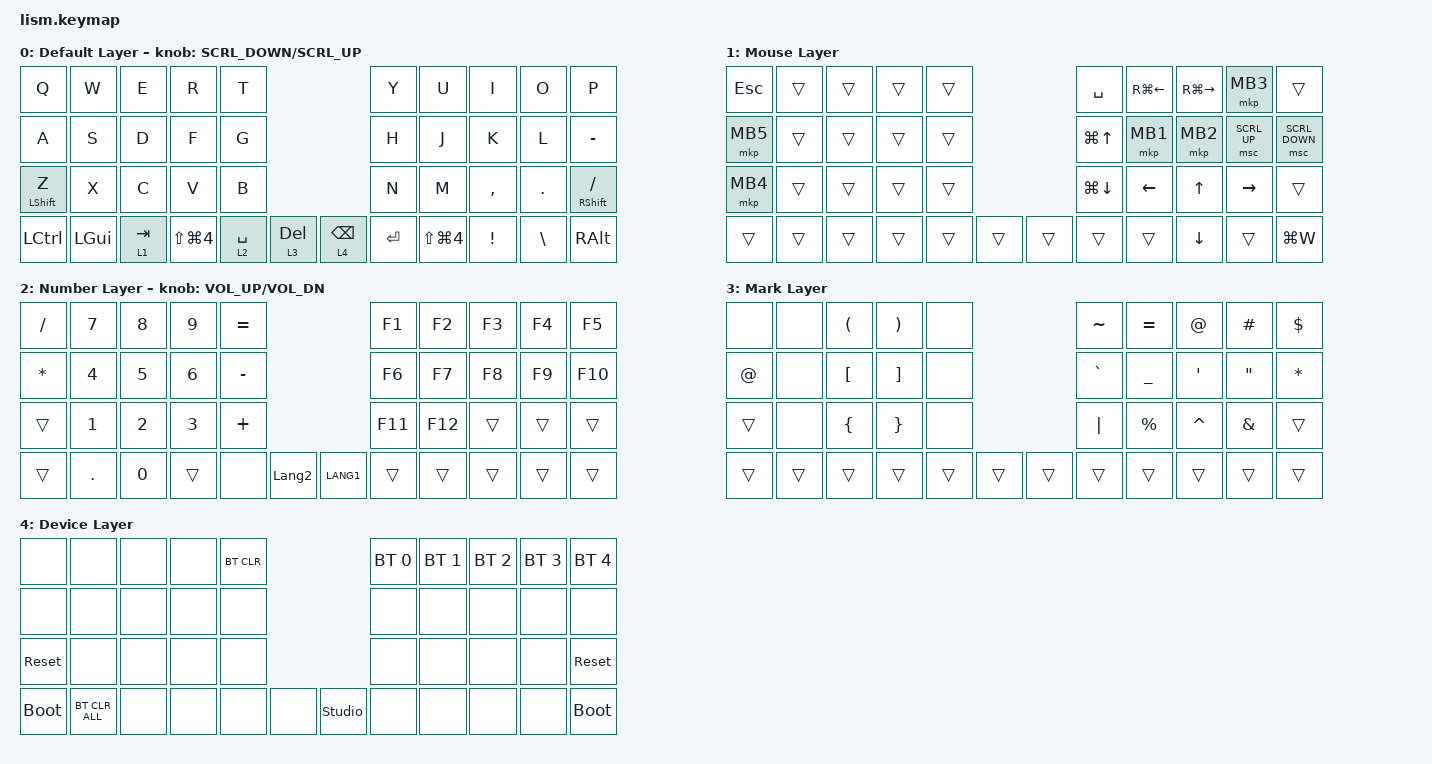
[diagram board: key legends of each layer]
#define ZMK_POINTING_DEFAULT_SCRL_VAL 200

#include <dt-bindings/zmk/mouse.h>
#include <behaviors.dtsi>
#include <dt-bindings/zmk/bt.h>
#include <dt-bindings/zmk/keys.h>
#include <dt-bindings/zmk/pointing.h>

&mt {
    tapping-term-ms = <300>;
    flavor = "balanced";
};

&lt { quick-tap-ms = <300>; };

/ {
    macros {
        emoji: emoji_macro {
            compatible = "zmk,behavior-macro";
            label = "EMOJI";
            #binding-cells = <0>;
            bindings =
                <&macro_press>,
                <&kp CAPSLOCK>,
                <&macro_tap>,
                <&kp E>,
                <&macro_release>,
                <&kp CAPSLOCK>;
        };
    };

    behaviors {
        encoder_msc: sensor_rotate_msc {
            compatible = "zmk,behavior-sensor-rotate-var";
            #sensor-binding-cells = <2>;
            bindings = <&msc>, <&msc>;

            tap-ms = <20>;
        };

        encoder_kp: sensor_rotate_kp {
            compatible = "zmk,behavior-sensor-rotate-var";
            #sensor-binding-cells = <2>;
            bindings = <&kp>, <&kp>;
        };
    };

    keymap {
        compatible = "zmk,keymap";

        default_layer {
            display-name = "Default Layer";
            bindings = <
&kp Q             &kp W         &kp E      &kp R           &kp T                                      &kp Y      &kp U           &kp I            &kp O          &kp P
&kp A             &kp S         &kp D      &kp F           &kp G                                      &kp H      &kp J           &kp K            &kp L          &kp MINUS
&mt LEFT_SHIFT Z  &kp X         &kp C      &kp V           &kp B                                      &kp N      &kp M           &kp COMMA        &kp DOT        &mt RSHIFT SLASH
&kp LCTRL         &kp LEFT_GUI  &lt 1 TAB  &kp LS(LG(N4))  &lt 2 SPACE  &lt 3 DEL    &lt 4 BACKSPACE  &kp ENTER  &kp LS(LG(N4))  &kp EXCLAMATION  &kp BACKSLASH  &kp RIGHT_ALT
            >;

            sensor-bindings = <&encoder_msc SCRL_DOWN SCRL_UP>;
        };

        layer_1 {
            display-name = "Mouse Layer";
            bindings = <
&kp ESC   &trans  &trans  &trans  &trans                    &kp SPACE     &kp RG(LEFT)  &kp RG(RIGHT)  &mkp MB3      &trans
&mkp MB5  &trans  &trans  &trans  &trans                    &kp LG(UP)    &mkp MB1      &mkp MB2       &msc SCRL_UP  &msc SCRL_DOWN
&mkp MB4  &trans  &trans  &trans  &trans                    &kp LG(DOWN)  &kp LEFT      &kp UP         &kp RIGHT     &trans
&trans    &trans  &trans  &trans  &trans  &trans    &trans  &trans        &trans        &kp DOWN       &trans        &kp LG(W)
            >;
        };

        layer_2 {
            display-name = "Number Layer";
            bindings = <
&kp SLASH     &kp NUMBER_7  &kp NUMBER_8  &kp NUMBER_9  &kp EQUAL                               &kp F1   &kp F2   &kp F3  &kp F4  &kp F5
&kp ASTERISK  &kp NUMBER_4  &kp NUMBER_5  &kp NUMBER_6  &kp MINUS                               &kp F6   &kp F7   &kp F8  &kp F9  &kp F10
&trans        &kp NUMBER_1  &kp NUMBER_2  &kp NUMBER_3  &kp PLUS                                &kp F11  &kp F12  &trans  &trans  &trans
&trans        &kp DOT       &kp NUMBER_0  &trans        &none      &kp LANGUAGE_2    &kp LANG1  &trans   &trans   &trans  &trans  &trans
            >;

            sensor-bindings = <&encoder_kp C_VOL_UP C_VOL_DN>;
        };

        layer_3 {
            display-name = "Mark Layer";
            bindings = <
&none   &none   &kp LEFT_PARENTHESIS  &kp RIGHT_PARENTHESIS  &none                     &kp TILDE  &kp EQUAL    &kp AT_SIGN       &kp HASH           &kp DOLLAR
&kp AT  &none   &kp LEFT_BRACKET      &kp RIGHT_BRACKET      &none                     &kp GRAVE  &kp UNDER    &kp SINGLE_QUOTE  &kp DOUBLE_QUOTES  &kp ASTERISK
&trans  &none   &kp LEFT_BRACE        &kp RIGHT_BRACE        &none                     &kp PIPE   &kp PERCENT  &kp CARET         &kp AMPERSAND      &trans
&trans  &trans  &trans                &trans                 &trans  &trans    &trans  &trans     &trans       &trans            &trans             &trans
            >;
        };

        layer_4 {
            display-name = "Device Layer";
            bindings = <
&none        &none           &none  &none  &bt BT_CLR                           &bt BT_SEL 0  &bt BT_SEL 1  &bt BT_SEL 2  &bt BT_SEL 3  &bt BT_SEL 4
&none        &none           &none  &none  &none                                &none         &none         &none         &none         &none
&sys_reset   &none           &none  &none  &none                                &none         &none         &none         &none         &sys_reset
&bootloader  &bt BT_CLR_ALL  &none  &none  &none       &none    &studio_unlock  &none         &none         &none         &none         &bootloader
            >;
        };

        layer_5 {
            status = "reserved";
            display-name = "Brank Layer";
            bindings = <
&trans  &trans  &trans  &trans  &trans                    &trans  &trans  &trans  &trans  &trans
&trans  &trans  &trans  &trans  &trans                    &trans  &trans  &trans  &trans  &trans
&trans  &trans  &trans  &trans  &trans                    &trans  &trans  &trans  &trans  &trans
&trans  &trans  &trans  &trans  &trans  &trans    &trans  &trans  &trans  &trans  &trans  &trans
            >;
        };

        layer_6 {
            status = "reserved";
            display-name = "Brank Layer";
            bindings = <
&trans  &trans  &trans  &trans  &trans                    &trans  &trans  &trans  &trans  &trans
&trans  &trans  &trans  &trans  &trans                    &trans  &trans  &trans  &trans  &trans
&trans  &trans  &trans  &trans  &trans                    &trans  &trans  &trans  &trans  &trans
&trans  &trans  &trans  &trans  &trans  &trans    &trans  &trans  &trans  &trans  &trans  &trans
            >;
        };

        layer_7 {
            status = "reserved";
            display-name = "Brank Layer";
            bindings = <
&trans  &trans  &trans  &trans  &trans                    &trans  &trans  &trans  &trans  &trans
&trans  &trans  &trans  &trans  &trans                    &trans  &trans  &trans  &trans  &trans
&trans  &trans  &trans  &trans  &trans                    &trans  &trans  &trans  &trans  &trans
&trans  &trans  &trans  &trans  &trans  &trans    &trans  &trans  &trans  &trans  &trans  &trans
            >;
        };
    };
};
